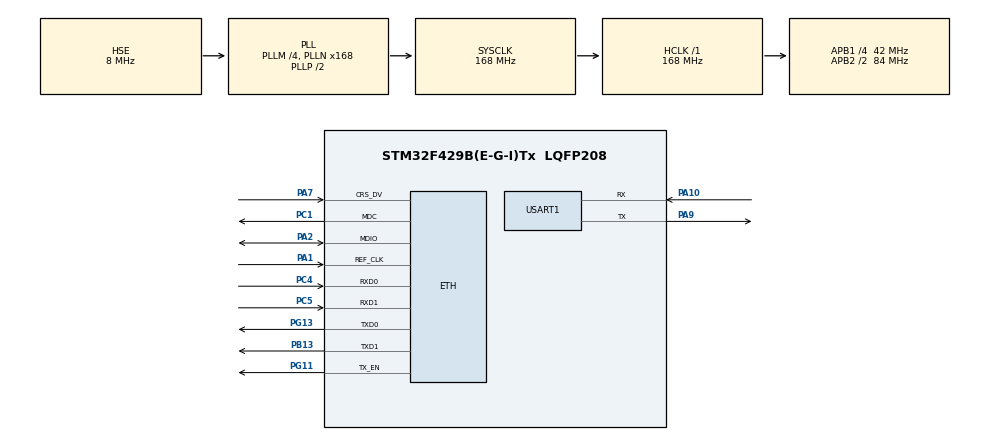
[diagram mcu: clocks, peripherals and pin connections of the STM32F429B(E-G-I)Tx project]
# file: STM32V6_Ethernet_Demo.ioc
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ETH.MACAddr=00\:60\:6E\:00\:00\:00
ETH.MediaInterface=HAL_ETH_RMII_MODE
LWIP.DHCP_DEBUG=LWIP_DBG_ON
LWIP.GATEWAY_ADDRESS=192.168.000.001
LWIP.ICMP_DEBUG=LWIP_DBG_ON
LWIP.IP_ADDRESS=192.168.000.100
LWIP.LWIP_DHCP=0
LWIP.NETMASK_ADDRESS=255.255.255.000
LWIP.Version=v2.1.2_Cube
Mcu.Family=STM32F4
Mcu.Name=STM32F429B(E-G-I)Tx
Mcu.Package=LQFP208
NVIC.PriorityGroup=NVIC_PRIORITYGROUP_4
PA1.Mode=RMII
PA1.Signal=ETH_REF_CLK
PA10.Mode=Asynchronous
PA10.Signal=USART1_RX
PA13.Mode=Serial_Wire
PA13.Signal=SYS_JTMS-SWDIO
PA14.Mode=Serial_Wire
PA14.Signal=SYS_JTCK-SWCLK
PA2.Mode=RMII
PA2.Signal=ETH_MDIO
PA7.Mode=RMII
PA7.Signal=ETH_CRS_DV
PA9.Mode=Asynchronous
PA9.Signal=USART1_TX
PB13.Mode=RMII
PB13.Signal=ETH_TXD1
PC1.Mode=RMII
PC1.Signal=ETH_MDC
PC4.Mode=RMII
PC4.Signal=ETH_RXD0
PC5.Mode=RMII
PC5.Signal=ETH_RXD1
PG11.Mode=RMII
PG11.Signal=ETH_TX_EN
PG13.Mode=RMII
PG13.Signal=ETH_TXD0
PH0/OSC_IN.Mode=HSE-External-Oscillator
PH0/OSC_IN.Signal=RCC_OSC_IN
PH1/OSC_OUT.Mode=HSE-External-Oscillator
PH1/OSC_OUT.Signal=RCC_OSC_OUT
ProjectManager.HeapSize=0x200
ProjectManager.StackSize=0x400
ProjectManager.TargetToolchain=MDK-ARM V5.32
RCC.48MHZClocksFreq_Value=84000000
RCC.AHBFreq_Value=168000000
RCC.APB1CLKDivider=RCC_HCLK_DIV4
RCC.APB1Freq_Value=42000000
RCC.APB1TimFreq_Value=84000000
RCC.APB2CLKDivider=RCC_HCLK_DIV2
RCC.APB2Freq_Value=84000000
RCC.APB2TimFreq_Value=168000000
RCC.CortexFreq_Value=168000000
RCC.HCLKFreq_Value=168000000
RCC.HSE_VALUE=8000000
RCC.HSI_VALUE=16000000
RCC.LSE_VALUE=32768
RCC.PLLM=4
RCC.PLLN=168
RCC.PLLSourceVirtual=RCC_PLLSOURCE_HSE
RCC.SYSCLKFreq_VALUE=168000000
RCC.SYSCLKSource=RCC_SYSCLKSOURCE_PLLCLK
RCC.VCOOutputFreq_Value=336000000
USART1.VirtualMode=VM_ASYNC
VP_LWIP_VS_Enabled.Mode=Enabled
board=custom

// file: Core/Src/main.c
/* USER CODE BEGIN Header */
/**
  ******************************************************************************
  * @file           : main.c
  * @brief          : Main program body
  ******************************************************************************
  * @attention
  *
  * Copyright (c) 2024 STMicroelectronics.
  * All rights reserved.
  *
  * This software is licensed under terms that can be found in the LICENSE file
  * in the root directory of this software component.
  * If no LICENSE file comes with this software, it is provided AS-IS.
  *
  ******************************************************************************
  */
/* USER CODE END Header */
#include "main.h"
#include "lwip.h"

/* USER CODE BEGIN Includes */
#include "gpio.h"
#include "usart.h"
#include "dbger.h"
#include "udp.h"
/* USER CODE END Includes */

void SystemClock_Config(void);
/* USER CODE BEGIN PFP */
void udpClient_connect(void);
static void udpClient_send(void);
/* USER CODE END PFP */

/* USER CODE BEGIN 0 */
volatile uint8_t is_udp_connect = 0;
static uint32_t counter = 0;
static struct udp_pcb *upcb;
/* USER CODE END 0 */

int main(void)
{

  /* MCU Configuration--------------------------------------------------------*/

  /* Reset of all peripherals, Initializes the Flash interface and the Systick. */
  HAL_Init();

  /* Configure the system clock */
  SystemClock_Config();

  /* USER CODE BEGIN SysInit */
	MX_GPIO_Init();
	MX_USART1_UART_Init();
	LOG_DBG("\n\n\n\n\n/******** STM32V6 Ethernet(DM9161) Demo ********/\n");
  /* USER CODE END SysInit */

  /* Initialize all configured peripherals */
  MX_LWIP_Init();
  /* USER CODE BEGIN 2 */
	//udpClient_connect();
  /* USER CODE END 2 */

  /* Infinite loop */
  /* USER CODE BEGIN WHILE */
  while (1)
  {
		MX_LWIP_Process();

		if(is_udp_connect) {
			static uint32_t last_tick = 0;
			while(HAL_GetTick() - last_tick > 2000) {
				last_tick = HAL_GetTick();
				udpClient_send();
			}
		}
    /* USER CODE END WHILE */

  }
}

void SystemClock_Config(void)
{
  RCC_OscInitTypeDef RCC_OscInitStruct = {0};
  RCC_ClkInitTypeDef RCC_ClkInitStruct = {0};

  /** Configure the main internal regulator output voltage
  */
  __HAL_RCC_PWR_CLK_ENABLE();
  __HAL_PWR_VOLTAGESCALING_CONFIG(PWR_REGULATOR_VOLTAGE_SCALE1);

  /** Initializes the RCC Oscillators according to the specified parameters
  * in the RCC_OscInitTypeDef structure.
  */
  RCC_OscInitStruct.OscillatorType = RCC_OSCILLATORTYPE_HSE;
  RCC_OscInitStruct.HSEState = RCC_HSE_ON;
  RCC_OscInitStruct.PLL.PLLState = RCC_PLL_ON;
  RCC_OscInitStruct.PLL.PLLSource = RCC_PLLSOURCE_HSE;
  RCC_OscInitStruct.PLL.PLLM = 4;
  RCC_OscInitStruct.PLL.PLLN = 168;
  RCC_OscInitStruct.PLL.PLLP = RCC_PLLP_DIV2;
  RCC_OscInitStruct.PLL.PLLQ = 4;
  if (HAL_RCC_OscConfig(&RCC_OscInitStruct) != HAL_OK)
  {
    Error_Handler();
  }

  /** Initializes the CPU, AHB and APB buses clocks
  */
  RCC_ClkInitStruct.ClockType = RCC_CLOCKTYPE_HCLK|RCC_CLOCKTYPE_SYSCLK
                              |RCC_CLOCKTYPE_PCLK1|RCC_CLOCKTYPE_PCLK2;
  RCC_ClkInitStruct.SYSCLKSource = RCC_SYSCLKSOURCE_PLLCLK;
  RCC_ClkInitStruct.AHBCLKDivider = RCC_SYSCLK_DIV1;
  RCC_ClkInitStruct.APB1CLKDivider = RCC_HCLK_DIV4;
  RCC_ClkInitStruct.APB2CLKDivider = RCC_HCLK_DIV2;

  if (HAL_RCC_ClockConfig(&RCC_ClkInitStruct, FLASH_LATENCY_5) != HAL_OK)
  {
    Error_Handler();
  }
}

/* USER CODE BEGIN 4 */
static void udpClient_send(void)
{
  struct pbuf *txBuf;
	err_t err = ERR_OK;
  char data[100];

  int len = sprintf(data, "sending UDP client message %d", counter);
	LOG_DBG("udp client send \"%s\" to server\n", data);

  /* allocate pbuf from pool*/
  txBuf = pbuf_alloc(PBUF_TRANSPORT, len, PBUF_RAM);

  if (txBuf != NULL)
  {
    /* copy data to pbuf */
    err = pbuf_take(txBuf, data, len);
		if(err != ERR_OK) {
			LOG_ERR("pbuf_take() err[%d]\n", err);
		} else {
			/* send udp data */
			err = udp_send(upcb, txBuf);
			if(err != ERR_OK) {
				LOG_ERR("udp_send() err[%d]\n", err);
			}
		}
    /* free pbuf */
    pbuf_free(txBuf);
  }
}

void udp_receive_callback(void *arg, struct udp_pcb *upcb, struct pbuf *p, const ip_addr_t *addr, u16_t port)
{
	/* Copy the data from the pbuf */
	//strncpy (buffer, (char *)p->payload, p->len);
	((char *)p->payload)[p->len] = 0;
	LOG_DBG("recv from [%s:%d](Len:%d): %s\n", ipaddr_ntoa(addr), port, p->len, (char*)p->payload);
	/*increment message count */
	counter++;
	/* Free receive pbuf */
	pbuf_free(p);
}

void udpClient_connect(void)
{
	err_t err;
	extern struct netif gnetif;

	/* 1. Create a new UDP control block  */
	upcb = udp_new();
	if(upcb == NULL) {
		LOG_ERR("udp_new err\n");
		return;
	}
	/* Bind the block to module's IP and port */
	ip_addr_t myIPaddr;
	IP_ADDR4(&myIPaddr, 192, 168, 0, 100);
	err = udp_bind(upcb, &myIPaddr, 8);
	//err = udp_bind(upcb, &gnetif.ip_addr, 8);
	if(err != ERR_OK) {
		LOG_ERR("udp client udp_bind() err[%d]\n", err);
	} else {
		LOG_DBG("udp client bind %s:%d\n", ip4addr_ntoa(&myIPaddr), 8);
	}

	/* configure destination IP address and port */
	ip_addr_t DestIPaddr;
	IP_ADDR4(&DestIPaddr, 192, 168, 0, 102);
	err = udp_connect(upcb, &DestIPaddr, 9);
	if (err == ERR_OK) {
		LOG_DBG("udp client conn with server[192.168.0.102:9]\n");
		/* 2. Send message to server */
		//udpClient_send ();
		/* 3. Set a receive callback for the upcb */
		udp_recv(upcb, udp_receive_callback, NULL);
		is_udp_connect = 1;
	} else {
		LOG_ERR("udp client conn with server[192.168.0.102:9] err[%d]\n", err);
	}
}

void udpClient_disconnect(void)
{
	if(upcb) {
		udp_disconnect(upcb);
		udp_remove(upcb);
	}
}
/* USER CODE END 4 */

void Error_Handler(void)
{
  __disable_irq();
  while (1)
  {
  }
}
